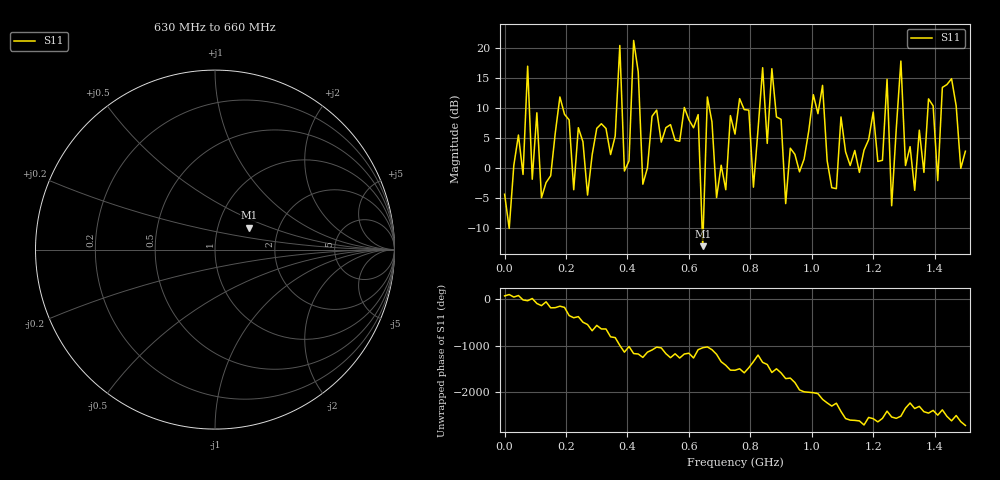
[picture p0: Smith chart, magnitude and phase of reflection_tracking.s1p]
! Created with skrf 1.8.0 (http://scikit-rf.org).
# Hz S RI R 50.0
!freq ReS11 ImS11
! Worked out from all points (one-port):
!   101 points, 50 kHz to 1.5 GHz, reference 50 ohm
!   lowest |S11| = -12.9 dB at 645 MHz (marker M1), VSWR 1.58, Z = 70.6 + j18.2 ohm
!   |S11| at or under -10 dB: 643 MHz to 646.8 MHz (3.798 MHz wide, 0.589 % of centre)
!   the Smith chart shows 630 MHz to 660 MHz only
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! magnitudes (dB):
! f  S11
! 50 kHz  -4.3
! 60.05 MHz  -1.0
! 75.05 MHz  17.0
! 120 MHz  -4.9
! 195 MHz  9.0
! 270 MHz  -4.5
! 375 MHz  20.4
! 390 MHz  -0.5
! 420 MHz  21.3
! 450 MHz  -2.6
! 570 MHz  4.5
! 630 MHz  8.9
! 645 MHz  -12.9
! 660 MHz  11.9
! 690 MHz  -4.9
! 750 MHz  5.7
! 810 MHz  -3.1
! 870 MHz  16.6
! 915 MHz  -5.9
! 945 MHz  2.3
! 1.035 GHz  13.8
! 1.065 GHz  -3.2
! 1.125 GHz  0.5
! 1.245 GHz  14.8
! 1.26 GHz  -6.2
! 1.29 GHz  17.8
! 1.32 GHz  3.6
! 1.5 GHz  2.8
